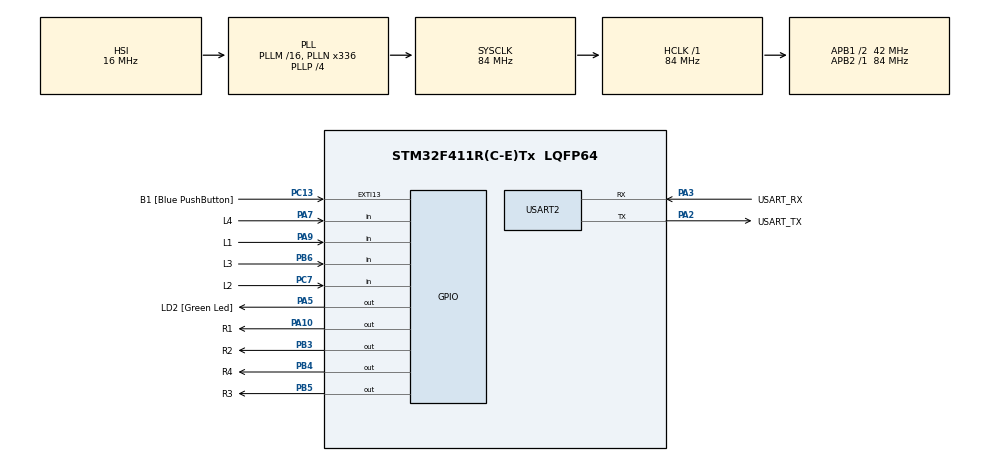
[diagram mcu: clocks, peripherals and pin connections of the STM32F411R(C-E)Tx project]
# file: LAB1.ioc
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Mcu.Family=STM32F4
Mcu.Name=STM32F411R(C-E)Tx
Mcu.Package=LQFP64
NVIC.PriorityGroup=NVIC_PRIORITYGROUP_0
PA10.GPIO_Label=R1
PA10.PinState=GPIO_PIN_SET
PA10.Signal=GPIO_Output
PA13.GPIO_Label=TMS
PA13.Mode=Serial_Wire
PA13.Signal=SYS_JTMS-SWDIO
PA14.GPIO_Label=TCK
PA14.Mode=Serial_Wire
PA14.Signal=SYS_JTCK-SWCLK
PA2.GPIO_Label=USART_TX
PA2.Mode=Asynchronous
PA2.Signal=USART2_TX
PA3.GPIO_Label=USART_RX
PA3.Mode=Asynchronous
PA3.Signal=USART2_RX
PA5.GPIO_Label=LD2 [Green Led]
PA5.Signal=GPIO_Output
PA7.GPIO_Label=L4
PA7.GPIO_PuPd=GPIO_PULLUP
PA7.Signal=GPIO_Input
PA9.GPIO_Label=L1
PA9.GPIO_PuPd=GPIO_PULLUP
PA9.Signal=GPIO_Input
PB3.GPIO_Label=R2
PB3.PinState=GPIO_PIN_SET
PB3.Signal=GPIO_Output
PB4.GPIO_Label=R4
PB4.PinState=GPIO_PIN_SET
PB4.Signal=GPIO_Output
PB5.GPIO_Label=R3
PB5.PinState=GPIO_PIN_SET
PB5.Signal=GPIO_Output
PB6.GPIO_Label=L3
PB6.GPIO_PuPd=GPIO_PULLUP
PB6.Signal=GPIO_Input
PC13-ANTI_TAMP.GPIO_Label=B1 [Blue PushButton]
PC13-ANTI_TAMP.GPIO_ModeDefaultEXTI=GPIO_MODE_IT_FALLING
PC13-ANTI_TAMP.Signal=GPXTI13
PC14-OSC32_IN.Mode=LSE-External-Oscillator
PC14-OSC32_IN.Signal=RCC_OSC32_IN
PC15-OSC32_OUT.Mode=LSE-External-Oscillator
PC15-OSC32_OUT.Signal=RCC_OSC32_OUT
PC7.GPIO_Label=L2
PC7.GPIO_PuPd=GPIO_PULLUP
PC7.Signal=GPIO_Input
PH0\ -\ OSC_IN.Mode=HSE-External-Clock-Source
PH0\ -\ OSC_IN.Signal=RCC_OSC_IN
PH1\ -\ OSC_OUT.Mode=HSE-External-Clock-Source
PH1\ -\ OSC_OUT.Signal=RCC_OSC_OUT
ProjectManager.HeapSize=0x200
ProjectManager.StackSize=0x400
ProjectManager.TargetToolchain=STM32CubeIDE
RCC.48MHZClocksFreq_Value=84000000
RCC.AHBFreq_Value=84000000
RCC.APB1CLKDivider=RCC_HCLK_DIV2
RCC.APB1Freq_Value=42000000
RCC.APB1TimFreq_Value=84000000
RCC.APB2Freq_Value=84000000
RCC.APB2TimFreq_Value=84000000
RCC.CortexFreq_Value=84000000
RCC.FLatency-AdvancedSettings=FLASH_LATENCY_2
RCC.HCLKFreq_Value=84000000
RCC.HSE_VALUE=8000000
RCC.HSI_VALUE=16000000
RCC.PLLN=336
RCC.PLLP=RCC_PLLP_DIV4
RCC.SYSCLKFreq_VALUE=84000000
RCC.SYSCLKSource=RCC_SYSCLKSOURCE_PLLCLK
RCC.VCOOutputFreq_Value=336000000
USART2.VirtualMode=VM_ASYNC
board=NUCLEO-F411RE

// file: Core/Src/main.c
/* USER CODE BEGIN Header */
/**
  ******************************************************************************
  * @file           : main.c
  * @brief          : Main program body
  ******************************************************************************
  * @attention
  *
  * Copyright (c) 2023 STMicroelectronics.
  * All rights reserved.
  *
  * This software is licensed under terms that can be found in the LICENSE file
  * in the root directory of this software component.
  * If no LICENSE file comes with this software, it is provided AS-IS.
  *
  ******************************************************************************
  */
/* USER CODE END Header */
#include "main.h"

UART_HandleTypeDef huart2;

/* USER CODE BEGIN PV */
typedef struct PortPin
{
	GPIO_TypeDef* PORT;
	uint16_t PIN;
} PortPin;

PortPin L[4] =
{
		{GPIOA, GPIO_PIN_9},
		{GPIOC, GPIO_PIN_7},
		{GPIOB, GPIO_PIN_6},
		{GPIOA, GPIO_PIN_7}
};

PortPin R[4] =
{
		{GPIOA, GPIO_PIN_10},
		{GPIOB, GPIO_PIN_3},
		{GPIOB, GPIO_PIN_5},
		{GPIOB, GPIO_PIN_4}
};

uint16_t ButtonMatrix = 0;
uint16_t ButtonMatrix_Last = 0;
uint64_t Memory = 0;
/* USER CODE END PV */

void SystemClock_Config(void);
static void MX_GPIO_Init(void);
static void MX_USART2_UART_Init(void);
/* USER CODE BEGIN PFP */
void ReadMatrixButton_1Row();
void ButtonBehavior(int i);
/* USER CODE END PFP */

int main(void)
{

  /* MCU Configuration--------------------------------------------------------*/

  /* Reset of all peripherals, Initializes the Flash interface and the Systick. */
  HAL_Init();

  /* Configure the system clock */
  SystemClock_Config();

  /* Initialize all configured peripherals */
  MX_GPIO_Init();
  MX_USART2_UART_Init();

  /* Infinite loop */
  while (1)
  {

    /* USER CODE BEGIN 3 */
	  uint32_t timestamp = 0;
	  static uint8_t T = 0;
	  register int i;

	  if (HAL_GetTick() > timestamp)
	  {
		  timestamp = HAL_GetTick() + 10;
		  ReadMatrixButton_1Row();

		  // Get rid off the meaningless buttons
		  ButtonMatrix &= 0b1011011101111111;

		  T = (T + 1)%4;
	  }

	  if (T == 0)
	  {
		  for (i = 0; i < 16; i++)
		  {
			  if ((((ButtonMatrix >> i) & 1) == 1) && (((ButtonMatrix_Last >> i) & 1) == 0))
			  {
				  ButtonBehavior(i);
			  }
		  }
		  ButtonMatrix_Last = ButtonMatrix;
	  }
  }
  /* USER CODE END 3 */
}

void SystemClock_Config(void)
{
  RCC_OscInitTypeDef RCC_OscInitStruct = {0};
  RCC_ClkInitTypeDef RCC_ClkInitStruct = {0};

  /** Configure the main internal regulator output voltage
  */
  __HAL_RCC_PWR_CLK_ENABLE();
  __HAL_PWR_VOLTAGESCALING_CONFIG(PWR_REGULATOR_VOLTAGE_SCALE1);

  /** Initializes the RCC Oscillators according to the specified parameters
  * in the RCC_OscInitTypeDef structure.
  */
  RCC_OscInitStruct.OscillatorType = RCC_OSCILLATORTYPE_HSI;
  RCC_OscInitStruct.HSIState = RCC_HSI_ON;
  RCC_OscInitStruct.HSICalibrationValue = RCC_HSICALIBRATION_DEFAULT;
  RCC_OscInitStruct.PLL.PLLState = RCC_PLL_ON;
  RCC_OscInitStruct.PLL.PLLSource = RCC_PLLSOURCE_HSI;
  RCC_OscInitStruct.PLL.PLLM = 16;
  RCC_OscInitStruct.PLL.PLLN = 336;
  RCC_OscInitStruct.PLL.PLLP = RCC_PLLP_DIV4;
  RCC_OscInitStruct.PLL.PLLQ = 4;
  if (HAL_RCC_OscConfig(&RCC_OscInitStruct) != HAL_OK)
  {
    Error_Handler();
  }

  /** Initializes the CPU, AHB and APB buses clocks
  */
  RCC_ClkInitStruct.ClockType = RCC_CLOCKTYPE_HCLK|RCC_CLOCKTYPE_SYSCLK
                              |RCC_CLOCKTYPE_PCLK1|RCC_CLOCKTYPE_PCLK2;
  RCC_ClkInitStruct.SYSCLKSource = RCC_SYSCLKSOURCE_PLLCLK;
  RCC_ClkInitStruct.AHBCLKDivider = RCC_SYSCLK_DIV1;
  RCC_ClkInitStruct.APB1CLKDivider = RCC_HCLK_DIV2;
  RCC_ClkInitStruct.APB2CLKDivider = RCC_HCLK_DIV1;

  if (HAL_RCC_ClockConfig(&RCC_ClkInitStruct, FLASH_LATENCY_2) != HAL_OK)
  {
    Error_Handler();
  }
}

static void MX_USART2_UART_Init(void)
{

  huart2.Instance = USART2;
  huart2.Init.BaudRate = 115200;
  huart2.Init.WordLength = UART_WORDLENGTH_8B;
  huart2.Init.StopBits = UART_STOPBITS_1;
  huart2.Init.Parity = UART_PARITY_NONE;
  huart2.Init.Mode = UART_MODE_TX_RX;
  huart2.Init.HwFlowCtl = UART_HWCONTROL_NONE;
  huart2.Init.OverSampling = UART_OVERSAMPLING_16;
  if (HAL_UART_Init(&huart2) != HAL_OK)
  {
    Error_Handler();
  }

}

static void MX_GPIO_Init(void)
{
  GPIO_InitTypeDef GPIO_InitStruct = {0};

  /* GPIO Ports Clock Enable */
  __HAL_RCC_GPIOC_CLK_ENABLE();
  __HAL_RCC_GPIOH_CLK_ENABLE();
  __HAL_RCC_GPIOA_CLK_ENABLE();
  __HAL_RCC_GPIOB_CLK_ENABLE();

  /*Configure GPIO pin Output Level */
  HAL_GPIO_WritePin(LD2_GPIO_Port, LD2_Pin, GPIO_PIN_RESET);

  /*Configure GPIO pin Output Level */
  HAL_GPIO_WritePin(R1_GPIO_Port, R1_Pin, GPIO_PIN_SET);

  /*Configure GPIO pin Output Level */
  HAL_GPIO_WritePin(GPIOB, R2_Pin|R4_Pin|R3_Pin, GPIO_PIN_SET);

  /*Configure GPIO pin : B1_Pin */
  GPIO_InitStruct.Pin = B1_Pin;
  GPIO_InitStruct.Mode = GPIO_MODE_IT_FALLING;
  GPIO_InitStruct.Pull = GPIO_NOPULL;
  HAL_GPIO_Init(B1_GPIO_Port, &GPIO_InitStruct);

  /*Configure GPIO pins : LD2_Pin R1_Pin */
  GPIO_InitStruct.Pin = LD2_Pin|R1_Pin;
  GPIO_InitStruct.Mode = GPIO_MODE_OUTPUT_PP;
  GPIO_InitStruct.Pull = GPIO_NOPULL;
  GPIO_InitStruct.Speed = GPIO_SPEED_FREQ_LOW;
  HAL_GPIO_Init(GPIOA, &GPIO_InitStruct);

  /*Configure GPIO pins : L4_Pin L1_Pin */
  GPIO_InitStruct.Pin = L4_Pin|L1_Pin;
  GPIO_InitStruct.Mode = GPIO_MODE_INPUT;
  GPIO_InitStruct.Pull = GPIO_PULLUP;
  HAL_GPIO_Init(GPIOA, &GPIO_InitStruct);

  /*Configure GPIO pin : L2_Pin */
  GPIO_InitStruct.Pin = L2_Pin;
  GPIO_InitStruct.Mode = GPIO_MODE_INPUT;
  GPIO_InitStruct.Pull = GPIO_PULLUP;
  HAL_GPIO_Init(L2_GPIO_Port, &GPIO_InitStruct);

  /*Configure GPIO pins : R2_Pin R4_Pin R3_Pin */
  GPIO_InitStruct.Pin = R2_Pin|R4_Pin|R3_Pin;
  GPIO_InitStruct.Mode = GPIO_MODE_OUTPUT_PP;
  GPIO_InitStruct.Pull = GPIO_NOPULL;
  GPIO_InitStruct.Speed = GPIO_SPEED_FREQ_LOW;
  HAL_GPIO_Init(GPIOB, &GPIO_InitStruct);

  /*Configure GPIO pin : L3_Pin */
  GPIO_InitStruct.Pin = L3_Pin;
  GPIO_InitStruct.Mode = GPIO_MODE_INPUT;
  GPIO_InitStruct.Pull = GPIO_PULLUP;
  HAL_GPIO_Init(L3_GPIO_Port, &GPIO_InitStruct);

}

/* USER CODE BEGIN 4 */
void ReadMatrixButton_1Row()
{
	static uint8_t X = 0;
	register int i;

	// Read L1-L4
	for (i = 0; i < 4; i++)
	{
		if (HAL_GPIO_ReadPin(L[i].PORT, L[i].PIN))
		{
			ButtonMatrix &= ~(1 << (4*X + i));	// Set MatrixButton on bit 4*X + i to 0
		}
		else
		{
			ButtonMatrix |= 1 << (4*X + i);		// Set MatrixButton on bit 4*X + i to 1
		}
	}

	// Set RX
	HAL_GPIO_WritePin(R[X].PORT, R[X].PIN, 1);

	// Reset R[(X + 1)%4]
	HAL_GPIO_WritePin(R[(X + 1)%4].PORT, R[(X + 1)%4].PIN, 0);

	// Update X
	X = (X + 1)%4;
}

void ButtonBehavior(int i)
{
	switch (i)
	{
	case 0:
	  Memory *= 10;
	  Memory += 7;
	  break;
	case 1:
	  Memory *= 10;
	  Memory += 4;
	  break;
	case 2:
	  Memory *= 10;
	  Memory += 1;
	  break;
	case 3:
	  Memory *= 10;
	  break;
	case 4:
	  Memory *= 10;
	  Memory += 8;
	  break;
	case 5:
	  Memory *= 10;
	  Memory += 5;
	  break;
	case 6:
	  Memory *= 10;
	  Memory += 2;
	  break;
	case 8:
	  Memory *= 10;
	  Memory += 9;
	  break;
	case 9:
	  Memory *= 10;
	  Memory += 6;
	  break;
	case 10:
	  Memory *= 10;
	  Memory += 3;
	  break;
	case 12:
	  Memory = 0;
	  HAL_GPIO_WritePin(GPIOA, GPIO_PIN_5, 0);
	  break;
	case 13:
	  Memory /= 10;
	  break;
	case 15:
	  if (Memory == 64340500049)
	  {
		  HAL_GPIO_WritePin(GPIOA, GPIO_PIN_5, 1);
	  }
	  else
	  {
		  HAL_GPIO_WritePin(GPIOA, GPIO_PIN_5, 0);
	  }
	  Memory = 0;
	  break;
	}
}
/* USER CODE END 4 */

void Error_Handler(void)
{
  __disable_irq();
  while (1)
  {
  }
}
